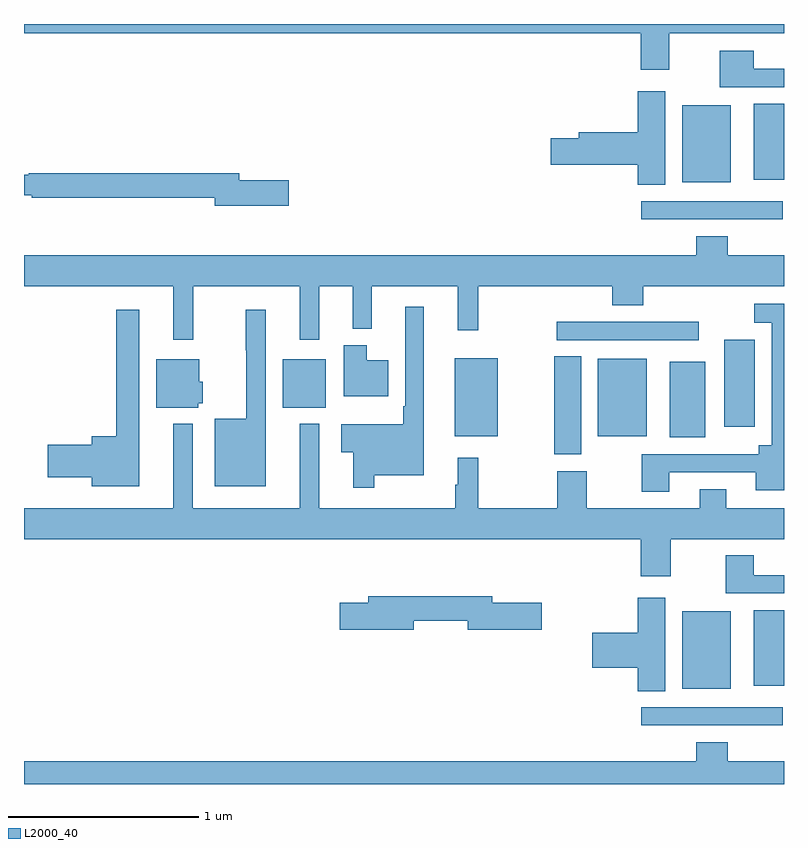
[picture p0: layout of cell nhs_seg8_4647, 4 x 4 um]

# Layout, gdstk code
import gdstk
lib = gdstk.Library(unit=1e-6, precision=1e-09)
def R(c, l, rs):  # rectangles x0, y0, x1, y1
    for r in rs: c.add(gdstk.rectangle(r[:2], r[2:], *l))
def P(c, l, *ps):  # polygons
    for p in ps: c.add(gdstk.Polygon(p, *l))
L2000_40 = (2000, 40)

nhs_seg8_4647 = lib.new_cell('nhs_seg8_4647')
R(nhs_seg8_4647, L2000_40, [(396.249,1094.208,396.994,1094.304), (396.464,1094.402,396.721,1094.809), (396.842,1094.417,397,1094.815), (395.791,1095.635,395.932,1096.151), (396.398,1095.725,396.586,1096.123), (395.267,1095.731,395.494,1096.141), (396.02,1095.731,396.277,1096.138), (396.686,1095.78,396.847,1096.237), (394.361,1095.881,394.588,1096.135), (395.805,1096.236,396.55,1096.332), (396.249,1096.872,396.994,1096.968), (396.464,1097.066,396.721,1097.473), (396.842,1097.081,397,1097.479)])
P(nhs_seg8_4647, L2000_40, [(393,1097.852),(396.245,1097.852),(396.245,1097.658),(396.397,1097.658),(396.397,1097.852),(397,1097.852),(397,1097.9),(393,1097.9)],
  [(397,1097.664),(396.841,1097.664),(396.841,1097.758),(396.662,1097.758),(396.662,1097.568),(397,1097.568)],
  [(396.376,1097.545),(396.23,1097.545),(396.23,1097.33),(395.921,1097.33),(395.921,1097.3),(395.772,1097.3),(395.772,1097.158),(396.23,1097.158),(396.23,1097.053),(396.376,1097.053)],
  [(394.393,1097.078),(394.132,1097.078),(394.132,1097.114),(393.026,1097.114),(393.026,1097.107),(393,1097.107),(393,1096.998),(393.04,1096.998),(393.04,1096.986),(394.004,1096.986),(394.004,1096.943),(394.393,1096.943)],
  [(393.892,1096.52),(394.451,1096.52),(394.451,1096.239),(394.555,1096.239),(394.555,1096.52),(394.73,1096.52),(394.73,1096.295),(394.829,1096.295),(394.829,1096.52),(395.282,1096.52),(395.282,1096.287),(395.392,1096.287),(395.392,1096.52),(396.095,1096.52),(396.095,1096.421),(396.26,1096.421),(396.26,1096.52),(397,1096.52),(397,1096.684),(396.704,1096.684),(396.704,1096.783),(396.539,1096.783),(396.539,1096.684),(393,1096.684),(393,1096.52),(393.785,1096.52),(393.785,1096.239),(393.892,1096.239)],
  [(396.397,1095.54),(396.851,1095.54),(396.851,1095.446),(397,1095.446),(397,1096.428),(396.843,1096.428),(396.843,1096.328),(396.936,1096.328),(396.936,1095.682),(396.866,1095.682),(396.866,1095.636),(396.25,1095.636),(396.25,1095.438),(396.397,1095.438)],
  [(394.843,1095.524),(395.104,1095.524),(395.104,1096.411),(395.007,1096.411),(395.007,1095.889),(394.995,1095.889),(394.995,1095.793),(394.67,1095.793),(394.67,1095.646),(394.733,1095.646),(394.733,1095.459),(394.843,1095.459)],
  [(394.273,1096.396),(394.167,1096.396),(394.167,1096.183),(394.169,1096.183),(394.169,1095.823),(394.004,1095.823),(394.004,1095.467),(394.273,1095.467)],
  [(393.607,1096.396),(393.486,1096.396),(393.486,1095.73),(393.356,1095.73),(393.356,1095.686),(393.126,1095.686),(393.126,1095.515),(393.356,1095.515),(393.356,1095.467),(393.607,1095.467)],
  [(394.918,1096.129),(394.804,1096.129),(394.804,1096.21),(394.682,1096.21),(394.682,1095.941),(394.918,1095.941)],
  [(393.918,1095.903),(393.94,1095.903),(393.94,1096.017),(393.922,1096.017),(393.922,1096.135),(393.695,1096.135),(393.695,1095.881),(393.918,1095.881)],
  [(396.245,1094.994),(396.405,1094.994),(396.405,1095.188),(397,1095.188),(397,1095.352),(396.697,1095.352),(396.697,1095.451),(396.557,1095.451),(396.557,1095.352),(395.961,1095.352),(395.961,1095.547),(395.806,1095.547),(395.806,1095.352),(395.392,1095.352),(395.392,1095.616),(395.282,1095.616),(395.282,1095.476),(395.271,1095.476),(395.271,1095.352),(394.555,1095.352),(394.555,1095.796),(394.451,1095.796),(394.451,1095.352),(393.889,1095.352),(393.889,1095.796),(393.785,1095.796),(393.785,1095.352),(393,1095.352),(393,1095.188),(396.245,1095.188)],
  [(397,1095),(396.841,1095),(396.841,1095.103),(396.694,1095.103),(396.694,1094.904),(397,1094.904)],
  [(395.05,1094.758),(395.336,1094.758),(395.336,1094.711),(395.725,1094.711),(395.725,1094.853),(395.464,1094.853),(395.464,1094.887),(394.811,1094.887),(394.811,1094.853),(394.662,1094.853),(394.662,1094.711),(395.05,1094.711)],
  [(396.376,1094.881),(396.23,1094.881),(396.23,1094.696),(395.991,1094.696),(395.991,1094.513),(396.23,1094.513),(396.23,1094.389),(396.376,1094.389)],
  [(397,1094.02),(396.704,1094.02),(396.704,1094.119),(396.539,1094.119),(396.539,1094.02),(393,1094.02),(393,1093.9),(397,1093.9)])

lib.write_gds('nhs_seg8_4647.gds')
